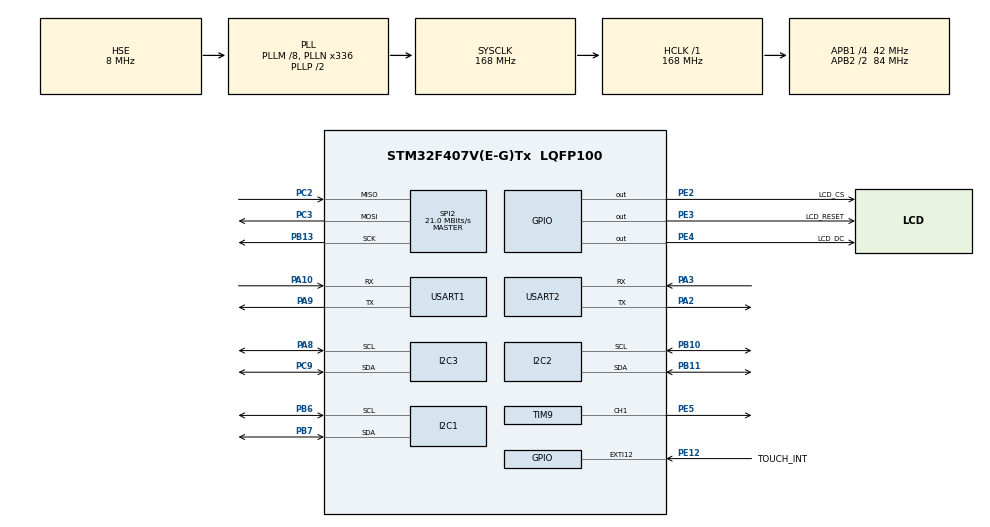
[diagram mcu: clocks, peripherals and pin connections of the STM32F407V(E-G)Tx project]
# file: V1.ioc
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Dma.Request0=USART2_RX
Dma.Request1=USART2_TX
Dma.Request2=SPI2_TX
Dma.SPI2_TX.2.Direction=DMA_MEMORY_TO_PERIPH
Dma.SPI2_TX.2.FIFOMode=DMA_FIFOMODE_DISABLE
Dma.SPI2_TX.2.Instance=DMA1_Stream4
Dma.SPI2_TX.2.MemDataAlignment=DMA_MDATAALIGN_BYTE
Dma.SPI2_TX.2.MemInc=DMA_MINC_ENABLE
Dma.SPI2_TX.2.Mode=DMA_NORMAL
Dma.SPI2_TX.2.PeriphDataAlignment=DMA_PDATAALIGN_BYTE
Dma.SPI2_TX.2.PeriphInc=DMA_PINC_DISABLE
Dma.SPI2_TX.2.Priority=DMA_PRIORITY_LOW
Dma.USART2_RX.0.Direction=DMA_PERIPH_TO_MEMORY
Dma.USART2_RX.0.FIFOMode=DMA_FIFOMODE_DISABLE
Dma.USART2_RX.0.Instance=DMA1_Stream5
Dma.USART2_RX.0.MemDataAlignment=DMA_MDATAALIGN_BYTE
Dma.USART2_RX.0.MemInc=DMA_MINC_ENABLE
Dma.USART2_RX.0.Mode=DMA_NORMAL
Dma.USART2_RX.0.PeriphDataAlignment=DMA_PDATAALIGN_BYTE
Dma.USART2_RX.0.PeriphInc=DMA_PINC_DISABLE
Dma.USART2_RX.0.Priority=DMA_PRIORITY_HIGH
Dma.USART2_TX.1.Direction=DMA_MEMORY_TO_PERIPH
Dma.USART2_TX.1.FIFOMode=DMA_FIFOMODE_DISABLE
Dma.USART2_TX.1.Instance=DMA1_Stream6
Dma.USART2_TX.1.MemDataAlignment=DMA_MDATAALIGN_BYTE
Dma.USART2_TX.1.MemInc=DMA_MINC_ENABLE
Dma.USART2_TX.1.Mode=DMA_NORMAL
Dma.USART2_TX.1.PeriphDataAlignment=DMA_PDATAALIGN_BYTE
Dma.USART2_TX.1.PeriphInc=DMA_PINC_DISABLE
Dma.USART2_TX.1.Priority=DMA_PRIORITY_HIGH
IWDG.Prescaler=IWDG_PRESCALER_256
IWDG.Reload=1000
Mcu.Family=STM32F4
Mcu.Name=STM32F407V(E-G)Tx
Mcu.Package=LQFP100
NVIC.DMA1_Stream4_IRQn=true\:0\:0\:false\:false\:true\:false\:true\:true
NVIC.DMA1_Stream5_IRQn=true\:0\:0\:false\:false\:true\:false\:true\:true
NVIC.DMA1_Stream6_IRQn=true\:0\:0\:false\:false\:true\:false\:true\:true
NVIC.EXTI15_10_IRQn=true\:0\:0\:false\:false\:true\:true\:true\:true
NVIC.PriorityGroup=NVIC_PRIORITYGROUP_4
NVIC.TIM7_IRQn=true\:15\:0\:false\:false\:true\:false\:true\:true
NVIC.TimeBase=TIM7_IRQn
NVIC.TimeBaseIP=TIM7
NVIC.USART1_IRQn=true\:0\:0\:false\:false\:true\:true\:true\:true
NVIC.USART2_IRQn=true\:5\:0\:true\:false\:true\:true\:true\:true
PA10.GPIO_Speed=GPIO_SPEED_FREQ_MEDIUM
PA10.Mode=Asynchronous
PA10.Signal=USART1_RX
PA13.Mode=Serial_Wire
PA13.Signal=SYS_JTMS-SWDIO
PA14.Mode=Serial_Wire
PA14.Signal=SYS_JTCK-SWCLK
PA2.GPIO_Speed=GPIO_SPEED_FREQ_MEDIUM
PA2.Mode=Asynchronous
PA2.Signal=USART2_TX
PA3.GPIO_Speed=GPIO_SPEED_FREQ_MEDIUM
PA3.Mode=Asynchronous
PA3.Signal=USART2_RX
PA8.GPIO_Speed=GPIO_SPEED_FREQ_MEDIUM
PA8.Mode=I2C
PA8.Signal=I2C3_SCL
PA9.GPIO_Speed=GPIO_SPEED_FREQ_MEDIUM
PA9.Mode=Asynchronous
PA9.Signal=USART1_TX
PB10.GPIO_Speed=GPIO_SPEED_FREQ_MEDIUM
PB10.Mode=I2C
PB10.Signal=I2C2_SCL
PB11.GPIO_Speed=GPIO_SPEED_FREQ_MEDIUM
PB11.Mode=I2C
PB11.Signal=I2C2_SDA
PB13.GPIO_Speed=GPIO_SPEED_FREQ_HIGH
PB13.Mode=Full_Duplex_Master
PB13.Signal=SPI2_SCK
PB6.GPIO_Speed=GPIO_SPEED_FREQ_MEDIUM
PB6.Mode=I2C
PB6.Signal=I2C1_SCL
PB7.GPIO_Speed=GPIO_SPEED_FREQ_MEDIUM
PB7.Mode=I2C
PB7.Signal=I2C1_SDA
PC14-OSC32_IN.Mode=LSE-External-Oscillator
PC14-OSC32_IN.Signal=RCC_OSC32_IN
PC15-OSC32_OUT.Mode=LSE-External-Oscillator
PC15-OSC32_OUT.Signal=RCC_OSC32_OUT
PC2.GPIO_Speed=GPIO_SPEED_FREQ_HIGH
PC2.Mode=Full_Duplex_Master
PC2.Signal=SPI2_MISO
PC3.GPIO_Speed=GPIO_SPEED_FREQ_HIGH
PC3.Mode=Full_Duplex_Master
PC3.Signal=SPI2_MOSI
PC9.GPIO_Speed=GPIO_SPEED_FREQ_MEDIUM
PC9.Mode=I2C
PC9.Signal=I2C3_SDA
PE12.GPIO_Label=TOUCH_INT
PE12.GPIO_ModeDefaultEXTI=GPIO_MODE_IT_FALLING
PE12.Signal=GPXTI12
PE2.GPIO_Label=LCD_CS
PE2.PinState=GPIO_PIN_SET
PE2.Signal=GPIO_Output
PE3.GPIO_Label=LCD_RESET
PE3.PinState=GPIO_PIN_SET
PE3.Signal=GPIO_Output
PE4.GPIO_Label=LCD_DC
PE4.PinState=GPIO_PIN_SET
PE4.Signal=GPIO_Output
PE5.Signal=S_TIM9_CH1
PH0-OSC_IN.Mode=HSE-External-Oscillator
PH0-OSC_IN.Signal=RCC_OSC_IN
PH1-OSC_OUT.Mode=HSE-External-Oscillator
PH1-OSC_OUT.Signal=RCC_OSC_OUT
ProjectManager.HeapSize=0x1000
ProjectManager.StackSize=0x1000
ProjectManager.TargetToolchain=MDK-ARM V5.32
RCC.48MHZClocksFreq_Value=84000000
RCC.AHBFreq_Value=168000000
RCC.APB1CLKDivider=RCC_HCLK_DIV4
RCC.APB1Freq_Value=42000000
RCC.APB1TimFreq_Value=84000000
RCC.APB2CLKDivider=RCC_HCLK_DIV2
RCC.APB2Freq_Value=84000000
RCC.APB2TimFreq_Value=168000000
RCC.CortexFreq_Value=168000000
RCC.HCLKFreq_Value=168000000
RCC.HSE_VALUE=8000000
RCC.HSI_VALUE=16000000
RCC.PLLM=8
RCC.PLLN=336
RCC.PLLSourceVirtual=RCC_PLLSOURCE_HSE
RCC.RCC_RTC_Clock_Source=RCC_RTCCLKSOURCE_LSE
RCC.RCC_RTC_Clock_SourceVirtual=RCC_RTCCLKSOURCE_LSE
RCC.SYSCLKFreq_VALUE=168000000
RCC.SYSCLKSource=RCC_SYSCLKSOURCE_PLLCLK
RCC.VCOOutputFreq_Value=336000000
SH.S_TIM9_CH1.0=TIM9_CH1,PWM Generation1 CH1
SPI2.CalculateBaudRate=21.0 MBits/s
SPI2.Direction=SPI_DIRECTION_2LINES
SPI2.Mode=SPI_MODE_MASTER
SPI2.VirtualType=VM_MASTER
TIM9.AutoReloadPreload=TIM_AUTORELOAD_PRELOAD_ENABLE
TIM9.Channel-PWM\ Generation1\ CH1=TIM_CHANNEL_1
TIM9.Period=99
TIM9.Prescaler=83
USART1.VirtualMode=VM_ASYNC
USART2.VirtualMode=VM_ASYNC
VP_IWDG_VS_IWDG.Mode=IWDG_Activate
VP_RTC_VS_RTC_Activate.Mode=RTC_Enabled
VP_RTC_VS_RTC_Calendar.Mode=RTC_Calendar
VP_SYS_VS_tim7.Mode=TIM7
VP_TIM9_VS_ClockSourceINT.Mode=Internal
board=custom

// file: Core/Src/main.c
/* USER CODE BEGIN Header */
/**
  ******************************************************************************
  * @file           : main.c
  * @brief          : Main program body
  ******************************************************************************
  * @attention
  *screen_home_digital_home_clocktime
  * Copyright (c) 2026 STMicroelectronics.
  * All rights reserved.
  *
  * This software is licensed under terms that can be found in the LICENSE file
  * in the root directory of this software component.
  * If no LICENSE file comes with this software, it is provided AS-IS.
  *
  ******************************************************************************
  */
/* USER CODE END Header */
#include "main.h"
#include "dma.h"
#include "i2c.h"
#include "iwdg.h"
#include "rtc.h"
#include "spi.h"
#include "tim.h"
#include "usart.h"
#include "gpio.h"

/* USER CODE BEGIN Includes */
#include <stdio.h>
#include <string.h>

#include "app_log.h"
#include "app_tasks.h"

#include "aht20.h"
#include "lps22hh.h"
#include "lis2dh12.h"
#include "opt3001.h"
#include "weather.h"
#include "app_time.h"

#include "lcd_st7789.h"
#include "font.h"
#include "eeprom.h"
#include "esp_at.h"
#include "ft5336.h"
/* USER CODE END Includes */

/* USER CODE BEGIN PTD */
#include "lvgl.h"
#include "gui_guider.h"
#include "events_init.h"
#include "lv_port_disp.h"
#include "lv_port_indev.h"
#include "lcd_backlight.h"
#include "ui_app.h"

#include "FreeRTOS.h"
#include "task.h"
#include "app_freertos.h"
/* USER CODE END PTD */

/* USER CODE BEGIN PV */
uint8_t rx_data;
static uint8_t g_clock_fallback_used = 0U;

/* USER CODE END PV */

void SystemClock_Config(void);
/* USER CODE BEGIN PFP */
static void SystemClock_Config_HSI_Fallback(void);
//I2C2
static void I2C2_Scan(void);

void App_Task_Storage(void);
void App_Task_UI(void);
void App_Task_Network(void);
void App_Task_Sensor(void);
uint8_t App_NetworkStartup(void);
uint8_t App_IsWifiConnected(void);
/* USER CODE END PFP */

/* USER CODE BEGIN 0 */
int fputc(int ch, FILE *f)
{
		uint8_t c = (uint8_t)ch;
		HAL_UART_Transmit(&huart1, &c, 1, APP_LOG_UART_TIMEOUT_MS);
		return ch;
}

/* USER CODE END 0 */

int main(void)
{

  /* MCU Configuration--------------------------------------------------------*/

  /* Reset of all peripherals, Initializes the Flash interface and the Systick. */
  HAL_Init();

  /* Configure the system clock */
  SystemClock_Config();

  /* Initialize all configured peripherals */
  MX_GPIO_Init();
  MX_DMA_Init();
  MX_USART1_UART_Init();
  MX_USART2_UART_Init();
  APP_LOG_BOOT("\r\nBoot UART OK\r\n");
  if (g_clock_fallback_used)
  {
    APP_LOG_ERROR("System clock fallback to HSI\r\n");
  }
  MX_SPI2_Init();
  MX_I2C1_Init();
  MX_I2C2_Init();
  MX_I2C3_Init();
  APP_LOG_BOOT("RTC init start\r\n");
  MX_RTC_Init();
  APP_LOG_BOOT("RTC init done\r\n");
  MX_TIM9_Init();
  /* USER CODE BEGIN 2 */

	HAL_UART_Receive_IT(&huart1, &rx_data, 1);

	App_Tasks_InitBeforeScheduler();

  MX_IWDG_Init();
  APP_LOG_BOOT("IWDG init OK\r\n");

	App_FreeRTOS_Init();

  vTaskStartScheduler();

  /* USER CODE END 2 */

  /* Infinite loop */
  while (1)
  {

		}
}

void SystemClock_Config(void)
{
  RCC_OscInitTypeDef RCC_OscInitStruct = {0};
  RCC_ClkInitTypeDef RCC_ClkInitStruct = {0};

  /** Configure the main internal regulator output voltage
  */
  __HAL_RCC_PWR_CLK_ENABLE();
  __HAL_PWR_VOLTAGESCALING_CONFIG(PWR_REGULATOR_VOLTAGE_SCALE1);

  /** Initializes the RCC Oscillators according to the specified parameters
  * in the RCC_OscInitTypeDef structure.
  */
  RCC_OscInitStruct.OscillatorType = RCC_OSCILLATORTYPE_LSI|RCC_OSCILLATORTYPE_HSE;
  RCC_OscInitStruct.HSEState = RCC_HSE_ON;
  RCC_OscInitStruct.LSIState = RCC_LSI_ON;
  RCC_OscInitStruct.PLL.PLLState = RCC_PLL_ON;
  RCC_OscInitStruct.PLL.PLLSource = RCC_PLLSOURCE_HSE;
  RCC_OscInitStruct.PLL.PLLM = 8;
  RCC_OscInitStruct.PLL.PLLN = 336;
  RCC_OscInitStruct.PLL.PLLP = RCC_PLLP_DIV2;
  RCC_OscInitStruct.PLL.PLLQ = 4;
  if (HAL_RCC_OscConfig(&RCC_OscInitStruct) != HAL_OK)
  {
    SystemClock_Config_HSI_Fallback();
    return;
  }

  /** Initializes the CPU, AHB and APB buses clocks
  */
  RCC_ClkInitStruct.ClockType = RCC_CLOCKTYPE_HCLK|RCC_CLOCKTYPE_SYSCLK
                              |RCC_CLOCKTYPE_PCLK1|RCC_CLOCKTYPE_PCLK2;
  RCC_ClkInitStruct.SYSCLKSource = RCC_SYSCLKSOURCE_PLLCLK;
  RCC_ClkInitStruct.AHBCLKDivider = RCC_SYSCLK_DIV1;
  RCC_ClkInitStruct.APB1CLKDivider = RCC_HCLK_DIV4;
  RCC_ClkInitStruct.APB2CLKDivider = RCC_HCLK_DIV2;

  if (HAL_RCC_ClockConfig(&RCC_ClkInitStruct, FLASH_LATENCY_5) != HAL_OK)
  {
    SystemClock_Config_HSI_Fallback();
    return;
  }
}

/* USER CODE BEGIN 4 */
static void SystemClock_Config_HSI_Fallback(void)
{
  RCC_OscInitTypeDef RCC_OscInitStruct = {0};
  RCC_ClkInitTypeDef RCC_ClkInitStruct = {0};

  g_clock_fallback_used = 1U;

  RCC_OscInitStruct.OscillatorType = RCC_OSCILLATORTYPE_HSI|RCC_OSCILLATORTYPE_LSI;
  RCC_OscInitStruct.HSIState = RCC_HSI_ON;
  RCC_OscInitStruct.HSICalibrationValue = RCC_HSICALIBRATION_DEFAULT;
  RCC_OscInitStruct.LSIState = RCC_LSI_ON;
  RCC_OscInitStruct.PLL.PLLState = RCC_PLL_NONE;
  if (HAL_RCC_OscConfig(&RCC_OscInitStruct) != HAL_OK)
  {
    Error_Handler();
  }

  RCC_ClkInitStruct.ClockType = RCC_CLOCKTYPE_HCLK|RCC_CLOCKTYPE_SYSCLK
                              |RCC_CLOCKTYPE_PCLK1|RCC_CLOCKTYPE_PCLK2;
  RCC_ClkInitStruct.SYSCLKSource = RCC_SYSCLKSOURCE_HSI;
  RCC_ClkInitStruct.AHBCLKDivider = RCC_SYSCLK_DIV1;
  RCC_ClkInitStruct.APB1CLKDivider = RCC_HCLK_DIV1;
  RCC_ClkInitStruct.APB2CLKDivider = RCC_HCLK_DIV1;

  if (HAL_RCC_ClockConfig(&RCC_ClkInitStruct, FLASH_LATENCY_0) != HAL_OK)
  {
    Error_Handler();
  }
}

//调试串口回调函数
void HAL_UART_RxCpltCallback(UART_HandleTypeDef *huart)
{
	if (huart->Instance == USART1)
	{
	//回显输入
		HAL_UART_Transmit(&huart1, &rx_data, 1, 100);
		HAL_UART_Transmit(&huart2, &rx_data, 1, 100);
		HAL_UART_Receive_IT(&huart1, &rx_data, 1);
	}
}

//ESP_AT
void HAL_UARTEx_RxEventCallback(UART_HandleTypeDef *huart, uint16_t Size)
{
    ESP_AT_RxEventCallback(huart, Size);
}

//FT5336
void HAL_GPIO_EXTI_Callback(uint16_t GPIO_Pin)
{
    if (GPIO_Pin == TOUCH_INT_Pin)
    {
        FT5336_NotifyIrq();
    }
}
//I2C2
void I2C2_Scan(void)
{
    APP_LOG_DEBUG("I2C2 scan start\r\n");

    for (uint8_t addr = 1; addr < 127; addr++)
    {
        if (HAL_I2C_IsDeviceReady(&hi2c2, addr << 1, 1, 10) == HAL_OK)
        {
            APP_LOG_DEBUG("I2C2 found device: 0x%02X\r\n", addr);
        }
    }

    APP_LOG_DEBUG("I2C2 scan end\r\n");
}

void vApplicationMallocFailedHook(void)
{
    APP_LOG_ERROR("FreeRTOS malloc failed\r\n");

    taskDISABLE_INTERRUPTS();

    for (;;)
    {
    }
}

void vApplicationStackOverflowHook(TaskHandle_t xTask, char *pcTaskName)
{
    (void)xTask;

    APP_LOG_ERROR("FreeRTOS stack overflow: %s\r\n",
                  (pcTaskName != NULL) ? pcTaskName : "unknown");

    taskDISABLE_INTERRUPTS();

    for (;;)
    {
    }
}
/* USER CODE END 4 */

void HAL_TIM_PeriodElapsedCallback(TIM_HandleTypeDef *htim)
{
  if (htim->Instance == TIM7) {
    HAL_IncTick();
  }
}

void Error_Handler(void)
{
  __disable_irq();
  while (1)
  {
  }
}

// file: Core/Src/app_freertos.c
#include "app_freertos.h"

#include <stdio.h>
#include <stdint.h>

#include "task.h"

#include "app_log.h"
#include "app_tasks.h"
#include "esp_at.h"
#include "iwdg.h"
#include "ui_msg.h"

#define UI_TASK_STACK_WORDS         2048
#define NETWORK_TASK_STACK_WORDS    1536
#define SENSOR_TASK_STACK_WORDS     1024
#define STORAGE_TASK_STACK_WORDS    1024
#define MONITOR_TASK_STACK_WORDS    512

#define MONITOR_STARTUP_DELAY_MS    3000U
#define MONITOR_CHECK_WINDOW_MS     1000U
#define MONITOR_PERIOD_MS           2000U

static EventGroupHandle_t AppEventGroup;

static TaskHandle_t UiTaskHandle;
static TaskHandle_t NetworkTaskHandle;
static TaskHandle_t SensorTaskHandle;
static TaskHandle_t StorageTaskHandle;
static TaskHandle_t MonitorTaskHandle;

static void UiTask(void *argument);
static void NetworkTask(void *argument);
static void SensorTask(void *argument);
static void StorageTask(void *argument);
static void MonitorTask(void *argument);
static void App_UpdateWifiEventBit(void);
static void App_Monitor_ReportFault(EventBits_t missing_bits);
static void App_Monitor_FeedWatchdog(void);
static void App_CheckCreateResult(BaseType_t ret, const char *name);

EventGroupHandle_t App_FreeRTOS_GetEventGroup(void)
{
    return AppEventGroup;
}

void App_FreeRTOS_Init(void)
{
    BaseType_t ret;

    APP_LOG_BOOT("FreeRTOS init start\r\n");

    UI_Msg_Init();
    APP_LOG_BOOT("UI message queue OK\r\n");

    AppEventGroup = xEventGroupCreate();
    if (AppEventGroup == NULL)
    {
        APP_LOG_ERROR("EventGroup create failed\r\n");
    }
    configASSERT(AppEventGroup != NULL);
    APP_LOG_BOOT("EventGroup create OK\r\n");

    ret = xTaskCreate(UiTask,
                      "UI",
                      UI_TASK_STACK_WORDS,
                      NULL,
                      5,
                      &UiTaskHandle);
    App_CheckCreateResult(ret, "UI");

    ret = xTaskCreate(NetworkTask,
                      "Network",
                      NETWORK_TASK_STACK_WORDS,
                      NULL,
                      3,
                      &NetworkTaskHandle);
    App_CheckCreateResult(ret, "Network");

    ret = xTaskCreate(SensorTask,
                      "Sensor",
                      SENSOR_TASK_STACK_WORDS,
                      NULL,
                      2,
                      &SensorTaskHandle);
    App_CheckCreateResult(ret, "Sensor");

    ret = xTaskCreate(StorageTask,
                      "Storage",
                      STORAGE_TASK_STACK_WORDS,
                      NULL,
                      1,
                      &StorageTaskHandle);
    App_CheckCreateResult(ret, "Storage");

    ret = xTaskCreate(MonitorTask,
                      "Monitor",
                      MONITOR_TASK_STACK_WORDS,
                      NULL,
                      4,
                      &MonitorTaskHandle);
    App_CheckCreateResult(ret, "Monitor");

    HAL_IWDG_Refresh(&hiwdg);
    APP_LOG_BOOT("FreeRTOS init done\r\n");
}

static void UiTask(void *argument)
{
    (void)argument;

    for (;;)
    {
        App_Task_UI();
        xEventGroupSetBits(AppEventGroup, APP_EVENT_UI_ALIVE);
        vTaskDelay(pdMS_TO_TICKS(5));
    }
}

static void NetworkTask(void *argument)
{
    (void)argument;

    /* Let the UI draw the first screen before running slow ESP-AT commands. */
    vTaskDelay(pdMS_TO_TICKS(500));

    ESP_AT_SetNotifyTask(xTaskGetCurrentTaskHandle());
    App_NetworkStartup();

    for (;;)
    {
        App_Task_Network();
        App_UpdateWifiEventBit();
        ESP_AT_WaitForRx(pdMS_TO_TICKS(100));
        xEventGroupSetBits(AppEventGroup, APP_EVENT_NETWORK_ALIVE);
    }
}

static void SensorTask(void *argument)
{
    (void)argument;

    for (;;)
    {
        App_Task_Sensor();
        xEventGroupSetBits(AppEventGroup, APP_EVENT_SENSOR_ALIVE);
        vTaskDelay(pdMS_TO_TICKS(200));
    }
}

static void StorageTask(void *argument)
{
    (void)argument;

    for (;;)
    {
        App_Task_Storage();
        xEventGroupSetBits(AppEventGroup, APP_EVENT_STORAGE_ALIVE);
        vTaskDelay(pdMS_TO_TICKS(200));
    }
}

static void MonitorTask(void *argument)
{
    EventBits_t bits;
    EventBits_t missing_bits;

    (void)argument;

    vTaskDelay(pdMS_TO_TICKS(MONITOR_STARTUP_DELAY_MS));

    for (;;)
    {
        xEventGroupClearBits(AppEventGroup, APP_EVENT_ALIVE_MASK);
        vTaskDelay(pdMS_TO_TICKS(MONITOR_CHECK_WINDOW_MS));

        bits = xEventGroupGetBits(AppEventGroup);
        missing_bits = APP_EVENT_ALIVE_MASK & (~bits);

        if (missing_bits == 0)
        {
            App_Monitor_FeedWatchdog();
        }
        else
        {
            App_Monitor_ReportFault(missing_bits);
        }

        vTaskDelay(pdMS_TO_TICKS(MONITOR_PERIOD_MS));
    }
}

static void App_UpdateWifiEventBit(void)
{
    if (App_IsWifiConnected())
    {
        xEventGroupSetBits(AppEventGroup, APP_EVENT_WIFI_CONNECTED);
    }
    else
    {
        xEventGroupClearBits(AppEventGroup, APP_EVENT_WIFI_CONNECTED);
    }
}

static void App_Monitor_ReportFault(EventBits_t missing_bits)
{
    if ((missing_bits & APP_EVENT_UI_ALIVE) != 0)
    {
        APP_LOG_ERROR("Monitor fault: UI task no alive\r\n");
    }

    if ((missing_bits & APP_EVENT_NETWORK_ALIVE) != 0)
    {
        APP_LOG_ERROR("Monitor fault: Network task no alive\r\n");
    }

    if ((missing_bits & APP_EVENT_SENSOR_ALIVE) != 0)
    {
        APP_LOG_ERROR("Monitor fault: Sensor task no alive\r\n");
    }

    if ((missing_bits & APP_EVENT_STORAGE_ALIVE) != 0)
    {
        APP_LOG_ERROR("Monitor fault: Storage task no alive\r\n");
    }
}

static void App_Monitor_FeedWatchdog(void)
{
    HAL_IWDG_Refresh(&hiwdg);
}

static void App_CheckCreateResult(BaseType_t ret, const char *name)
{
    if (ret != pdPASS)
    {
        APP_LOG_ERROR("%s task create failed\r\n", name);
    }
    else
    {
        APP_LOG_BOOT("%s task create OK\r\n", name);
    }

    configASSERT(ret == pdPASS);
}
